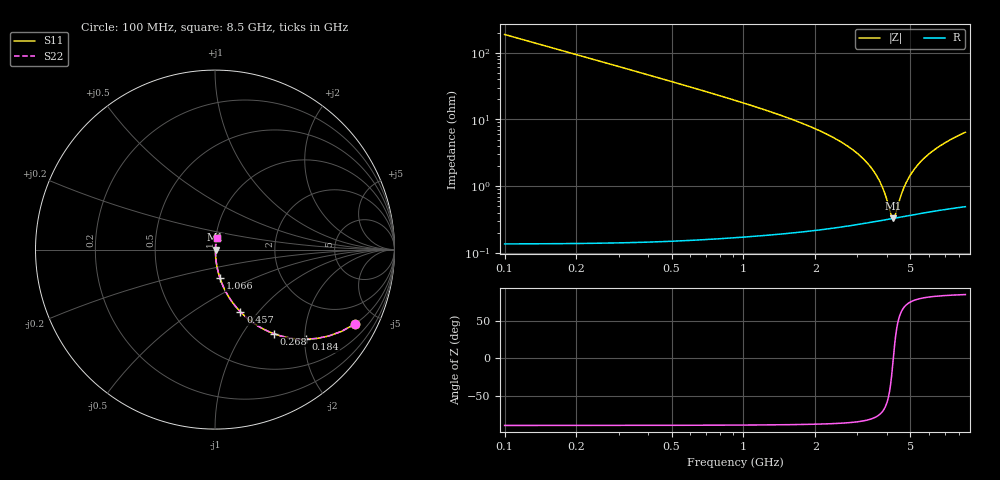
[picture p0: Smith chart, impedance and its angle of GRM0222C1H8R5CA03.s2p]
!Murata Part Number: GRM0222C1H8R5CA03
!These Parameters are Measured in Series Mode Connection
!Data Generated on Mar 30, 2021
!  o--ll--o
!Port1  Port2
!  o------o
!Operation Temp=25[degC], DC Bias Voltage=0[V]
!Freq. Start=100[MHz] Stop=9[GHz] 401[Steps]
# Hz S RI R 50
!Freq.(Hz) S11(Real) S11(Imag) S21(Real) S21(Imag) S12(Real) S12(Imag) S22(Real) S22(Imag)
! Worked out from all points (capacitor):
!   401 points, 100 MHz to 8.5 GHz, reference 50 ohm
!   read as one part in series: C = 8.5 pF near 142 MHz
!   lowest |Z| = 330 mohm at 4.237 GHz (marker M1)
!   series resonance near 4.242 GHz, so ESL is about 170 pH
!   S11 on the Smith chart (normalised r, x): 100 MHz: 1.00, -3.74; 184 MHz: 1.00, -2.03; 268 MHz: 1.00, -1.39; 457 MHz: 1.00, -0.81; 1.066 GHz: 1.00, -0.33; 8.5 GHz: 1.01, +0.13
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1e8  0.7777 -0.4154  0.2223 0.4154  0.2223 0.4154  0.7777 -0.4154
1.84e8  0.5077 -0.4993  0.4923 0.4993  0.4923 0.4993  0.5077 -0.4993
2.68e8  0.3265 -0.4679  0.6735 0.4679  0.6735 0.4679  0.3265 -0.4679
3.52e8  0.2187 -0.412  0.7813 0.412  0.7813 0.412  0.2187 -0.412
4.57e8  0.1416 -0.3469  0.8584 0.3469  0.8584 0.3469  0.1416 -0.3469
6.88e8  0.0667 -0.2466  0.9333 0.2466  0.9333 0.2466  0.0667 -0.2466
1.066e9  0.0279 -0.1593  0.9721 0.1593  0.9721 0.1593  0.0279 -0.1593
1.507e9  0.0134 -0.1064  0.9866 0.1064  0.9866 0.1064  0.0134 -0.1064
2.914e9  0.00373 -0.0334  0.9963 0.0334  0.9963 0.0334  0.00373 -0.0334
3.334e9  0.00327 -0.0211  0.9967 0.0211  0.9967 0.0211  0.00327 -0.0211
3.649e9  0.00316 -0.0131  0.9968 0.0131  0.9968 0.0131  0.00316 -0.0131
3.901e9  0.00317 -0.00725  0.9968 0.00725  0.9968 0.00725  0.00317 -0.00725
4.153e9  0.00325 -0.00184  0.9968 0.00184  0.9968 0.00184  0.00325 -0.00184
4.237e9  0.00328 -0.00011  0.9967 0.00011  0.9967 0.00011  0.00328 -0.00011
4.3e9  0.00332 0.00116  0.9967 -0.00116  0.9967 -0.00116  0.00332 0.00116
4.594e9  0.00351 0.00685  0.9965 -0.00685  0.9965 -0.00685  0.00351 0.00685
4.846e9  0.00371 0.0114  0.9963 -0.0114  0.9963 -0.0114  0.00371 0.0114
5.224e9  0.00408 0.0179  0.9959 -0.0179  0.9959 -0.0179  0.00408 0.0179
5.707e9  0.00463 0.0257  0.9954 -0.0257  0.9954 -0.0257  0.00463 0.0257
6.337e9  0.00545 0.035  0.9945 -0.035  0.9945 -0.035  0.00545 0.035
7.114e9  0.0066 0.0457  0.9934 -0.0457  0.9934 -0.0457  0.0066 0.0457
8.5e9  0.00894 0.0632  0.9911 -0.0632  0.9911 -0.0632  0.00894 0.0632
